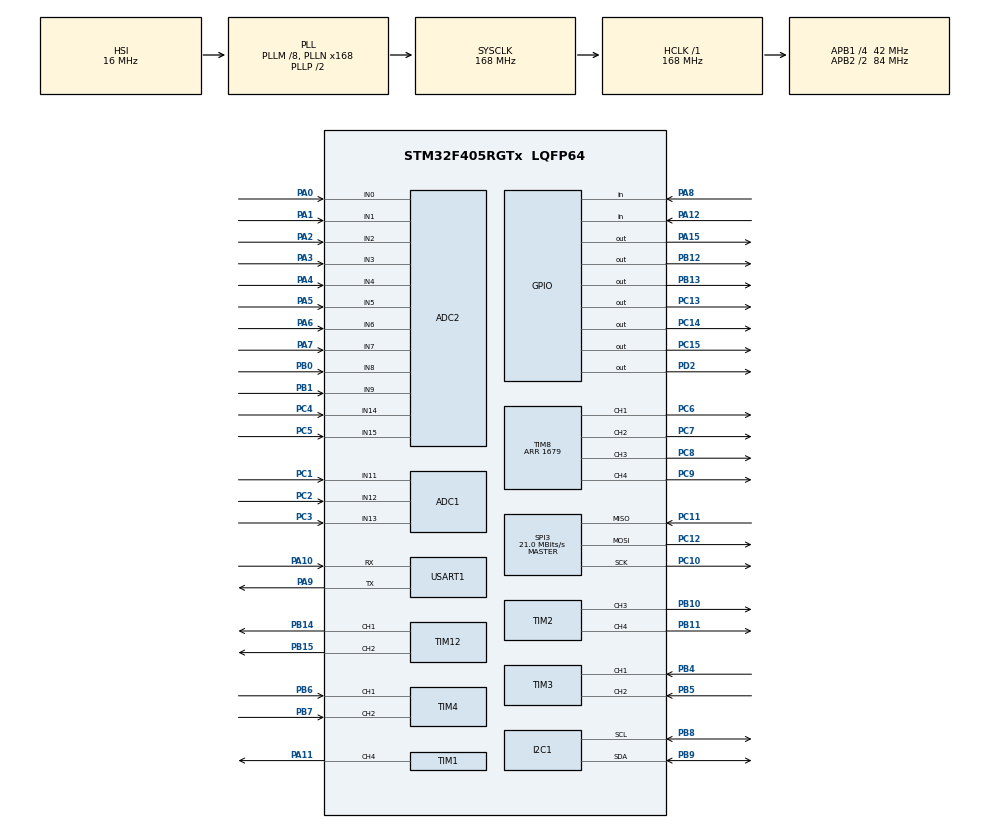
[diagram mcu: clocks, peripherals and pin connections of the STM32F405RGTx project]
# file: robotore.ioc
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ADC1.Channel-0\#ChannelRegularConversion=ADC_CHANNEL_11
ADC1.ClockPrescaler=ADC_CLOCK_SYNC_PCLK_DIV4
ADC1.NbrOfConversionFlag=1
ADC1.Rank-0\#ChannelRegularConversion=1
ADC1.SamplingTime-0\#ChannelRegularConversion=ADC_SAMPLETIME_3CYCLES
ADC1.master=1
ADC2.Channel-0\#ChannelRegularConversion=ADC_CHANNEL_0
ADC2.ClockPrescaler=ADC_CLOCK_SYNC_PCLK_DIV4
ADC2.NbrOfConversionFlag=1
ADC2.Rank-0\#ChannelRegularConversion=1
ADC2.SamplingTime-0\#ChannelRegularConversion=ADC_SAMPLETIME_3CYCLES
Mcu.Family=STM32F4
Mcu.Name=STM32F405RGTx
Mcu.Package=LQFP64
NVIC.PriorityGroup=NVIC_PRIORITYGROUP_4
PA0-WKUP.Signal=ADCx_IN0
PA1.Signal=ADCx_IN1
PA10.Mode=Asynchronous
PA10.Signal=USART1_RX
PA11.Signal=S_TIM1_CH4
PA12.Signal=GPIO_Input
PA13.Mode=Trace_Asynchronous_SW
PA13.Signal=SYS_JTMS-SWDIO
PA14.Mode=Trace_Asynchronous_SW
PA14.Signal=SYS_JTCK-SWCLK
PA15.Signal=GPIO_Output
PA2.Signal=ADCx_IN2
PA3.Signal=ADCx_IN3
PA4.Signal=ADCx_IN4
PA5.Signal=ADCx_IN5
PA6.Signal=ADCx_IN6
PA7.Signal=ADCx_IN7
PA8.Signal=GPIO_Input
PA9.Mode=Asynchronous
PA9.Signal=USART1_TX
PB0.Signal=ADCx_IN8
PB1.Signal=ADCx_IN9
PB10.Signal=S_TIM2_CH3
PB11.Signal=S_TIM2_CH4
PB12.Signal=GPIO_Output
PB13.Signal=GPIO_Output
PB14.Signal=S_TIM12_CH1
PB15.Signal=S_TIM12_CH2
PB3.Mode=Trace_Asynchronous_SW
PB3.Signal=SYS_JTDO-SWO
PB4.Signal=S_TIM3_CH1
PB5.Signal=S_TIM3_CH2
PB6.Signal=S_TIM4_CH1
PB7.Signal=S_TIM4_CH2
PB8.Mode=I2C
PB8.Signal=I2C1_SCL
PB9.Mode=I2C
PB9.Signal=I2C1_SDA
PC1.Signal=ADCx_IN11
PC10.Mode=Full_Duplex_Master
PC10.Signal=SPI3_SCK
PC11.Mode=Full_Duplex_Master
PC11.Signal=SPI3_MISO
PC12.Mode=Full_Duplex_Master
PC12.Signal=SPI3_MOSI
PC13-ANTI_TAMP.Signal=GPIO_Output
PC14-OSC32_IN.Signal=GPIO_Output
PC15-OSC32_OUT.Signal=GPIO_Output
PC2.Signal=ADCx_IN12
PC3.Signal=ADCx_IN13
PC4.Signal=ADCx_IN14
PC5.Signal=ADCx_IN15
PC6.Signal=S_TIM8_CH1
PC7.Signal=S_TIM8_CH2
PC8.Signal=S_TIM8_CH3
PC9.Signal=S_TIM8_CH4
PD2.Signal=GPIO_Output
PH0-OSC_IN.Mode=HSE-External-Oscillator
PH0-OSC_IN.Signal=RCC_OSC_IN
PH1-OSC_OUT.Mode=HSE-External-Oscillator
PH1-OSC_OUT.Signal=RCC_OSC_OUT
ProjectManager.HeapSize=0x200
ProjectManager.StackSize=0x400
ProjectManager.TargetToolchain=STM32CubeIDE
RCC.48MHZClocksFreq_Value=84000000
RCC.AHBFreq_Value=168000000
RCC.APB1CLKDivider=RCC_HCLK_DIV4
RCC.APB1Freq_Value=42000000
RCC.APB1TimFreq_Value=84000000
RCC.APB2CLKDivider=RCC_HCLK_DIV2
RCC.APB2Freq_Value=84000000
RCC.APB2TimFreq_Value=168000000
RCC.CortexFreq_Value=168000000
RCC.HCLKFreq_Value=168000000
RCC.HSE_VALUE=12000000
RCC.HSI_VALUE=16000000
RCC.LSE_VALUE=32768
RCC.PLLM=8
RCC.PLLN=168
RCC.SYSCLKFreq_VALUE=168000000
RCC.SYSCLKSource=RCC_SYSCLKSOURCE_PLLCLK
RCC.VCOOutputFreq_Value=336000000
SH.ADCx_IN0.0=ADC2_IN0,IN0
SH.ADCx_IN1.0=ADC2_IN1,IN1
SH.ADCx_IN11.0=ADC1_IN11,IN11
SH.ADCx_IN12.0=ADC1_IN12,IN12
SH.ADCx_IN13.0=ADC1_IN13,IN13
SH.ADCx_IN14.0=ADC2_IN14,IN14
SH.ADCx_IN15.0=ADC2_IN15,IN15
SH.ADCx_IN2.0=ADC2_IN2,IN2
SH.ADCx_IN3.0=ADC2_IN3,IN3
SH.ADCx_IN4.0=ADC2_IN4,IN4
SH.ADCx_IN5.0=ADC2_IN5,IN5
SH.ADCx_IN6.0=ADC2_IN6,IN6
SH.ADCx_IN7.0=ADC2_IN7,IN7
SH.ADCx_IN8.0=ADC2_IN8,IN8
SH.ADCx_IN9.0=ADC2_IN9,IN9
SH.S_TIM12_CH1.0=TIM12_CH1,PWM Generation1 CH1
SH.S_TIM12_CH2.0=TIM12_CH2,PWM Generation2 CH2
SH.S_TIM1_CH4.0=TIM1_CH4,PWM Generation4 CH4
SH.S_TIM2_CH3.0=TIM2_CH3,PWM Generation3 CH3
SH.S_TIM2_CH4.0=TIM2_CH4,PWM Generation4 CH4
SH.S_TIM3_CH1.0=TIM3_CH1,Encoder_Interface
SH.S_TIM3_CH2.0=TIM3_CH2,Encoder_Interface
SH.S_TIM4_CH1.0=TIM4_CH1,Encoder_Interface
SH.S_TIM4_CH2.0=TIM4_CH2,Encoder_Interface
SH.S_TIM8_CH1.0=TIM8_CH1,PWM Generation1 CH1
SH.S_TIM8_CH2.0=TIM8_CH2,PWM Generation2 CH2
SH.S_TIM8_CH3.0=TIM8_CH3,PWM Generation3 CH3
SH.S_TIM8_CH4.0=TIM8_CH4,PWM Generation4 CH4
SPI3.BaudRatePrescaler=SPI_BAUDRATEPRESCALER_2
SPI3.CalculateBaudRate=21.0 MBits/s
SPI3.Direction=SPI_DIRECTION_2LINES
SPI3.Mode=SPI_MODE_MASTER
SPI3.VirtualType=VM_MASTER
TIM1.Channel-PWM\ Generation4\ CH4=TIM_CHANNEL_4
TIM12.Channel-PWM\ Generation1\ CH1=TIM_CHANNEL_1
TIM12.Channel-PWM\ Generation2\ CH2=TIM_CHANNEL_2
TIM2.Channel-PWM\ Generation3\ CH3=TIM_CHANNEL_3
TIM2.Channel-PWM\ Generation4\ CH4=TIM_CHANNEL_4
TIM8.Channel-PWM\ Generation1\ CH1=TIM_CHANNEL_1
TIM8.Channel-PWM\ Generation2\ CH2=TIM_CHANNEL_2
TIM8.Channel-PWM\ Generation3\ CH3=TIM_CHANNEL_3
TIM8.Channel-PWM\ Generation4\ CH4=TIM_CHANNEL_4
TIM8.Period=1679
USART1.VirtualMode=VM_ASYNC
board=custom

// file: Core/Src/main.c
/* USER CODE BEGIN Header */
/**
  ******************************************************************************
  * @file           : main.c
  * @brief          : Main program body
  ******************************************************************************
  * @attention
  *
  * <h2><center>&copy; Copyright (c) 2022 STMicroelectronics.
  * All rights reserved.</center></h2>
  *
  * This software component is licensed by ST under BSD 3-Clause license,
  * the "License"; You may not use this file except in compliance with the
  * License. You may obtain a copy of the License at:
  *                        opensource.org/licenses/BSD-3-Clause
  *
  ******************************************************************************
  */
/* USER CODE END Header */
#include "main.h"

ADC_HandleTypeDef hadc1;
ADC_HandleTypeDef hadc2;

I2C_HandleTypeDef hi2c1;

SPI_HandleTypeDef hspi3;

TIM_HandleTypeDef htim1;
TIM_HandleTypeDef htim2;
TIM_HandleTypeDef htim3;
TIM_HandleTypeDef htim4;
TIM_HandleTypeDef htim8;
TIM_HandleTypeDef htim12;

UART_HandleTypeDef huart1;

/* USER CODE BEGIN PV */

static int16_t motor_l, motor_r;
static int16_t drone_motor_l, drone_motor_r;
int16_t mon_rev_l, mon_rev_r;

int16_t MAX_COUNTER_PERIOD = 1679;
int16_t MIN_COUNTER_PERIOD = 0;

/* USER CODE END PV */

void SystemClock_Config(void);
static void MX_GPIO_Init(void);
static void MX_TIM1_Init(void);
static void MX_TIM2_Init(void);
static void MX_TIM3_Init(void);
static void MX_TIM4_Init(void);
static void MX_TIM8_Init(void);
static void MX_TIM12_Init(void);
static void MX_ADC1_Init(void);
static void MX_ADC2_Init(void);
static void MX_I2C1_Init(void);
static void MX_SPI3_Init(void);
static void MX_USART1_UART_Init(void);
/* USER CODE BEGIN PFP */

void initMotor(void)
{
	HAL_TIM_PWM_Start(&htim8, TIM_CHANNEL_1); //PWM start
	HAL_TIM_PWM_Start(&htim8, TIM_CHANNEL_2); //PWM start
	HAL_TIM_PWM_Start(&htim8, TIM_CHANNEL_3); //PWM start
	HAL_TIM_PWM_Start(&htim8, TIM_CHANNEL_4); //PWM start

	//motor driver wakeup
	__HAL_TIM_SET_COMPARE(&htim8, TIM_CHANNEL_1, MAX_COUNTER_PERIOD);
	__HAL_TIM_SET_COMPARE(&htim8, TIM_CHANNEL_2, MAX_COUNTER_PERIOD);
	__HAL_TIM_SET_COMPARE(&htim8, TIM_CHANNEL_3, MAX_COUNTER_PERIOD);
	__HAL_TIM_SET_COMPARE(&htim8, TIM_CHANNEL_4, MAX_COUNTER_PERIOD);
	HAL_Delay(100);
}

/* USER CODE END PFP */

int main(void)
{

  /* MCU Configuration--------------------------------------------------------*/

  /* Reset of all peripherals, Initializes the Flash interface and the Systick. */
  HAL_Init();

  /* Configure the system clock */
  SystemClock_Config();

  /* Initialize all configured peripherals */
  MX_GPIO_Init();
  MX_TIM1_Init();
  MX_TIM2_Init();
  MX_TIM3_Init();
  MX_TIM4_Init();
  MX_TIM8_Init();
  MX_TIM12_Init();
  MX_ADC1_Init();
  MX_ADC2_Init();
  MX_I2C1_Init();
  MX_SPI3_Init();
  MX_USART1_UART_Init();
  /* USER CODE BEGIN 2 */

  initMotor();
  /* USER CODE END 2 */

  /* Infinite loop */
  /* USER CODE BEGIN WHILE */
  while (1)
  {
	__HAL_TIM_SET_COMPARE(&htim8, TIM_CHANNEL_3, 1400);
	__HAL_TIM_SET_COMPARE(&htim8, TIM_CHANNEL_4, MAX_COUNTER_PERIOD);
	__HAL_TIM_SET_COMPARE(&htim8, TIM_CHANNEL_1, MAX_COUNTER_PERIOD);
	__HAL_TIM_SET_COMPARE(&htim8, TIM_CHANNEL_2, MAX_COUNTER_PERIOD);
	HAL_Delay(1000);

	__HAL_TIM_SET_COMPARE(&htim8, TIM_CHANNEL_1, 1400);
	__HAL_TIM_SET_COMPARE(&htim8, TIM_CHANNEL_2, MAX_COUNTER_PERIOD);
	__HAL_TIM_SET_COMPARE(&htim8, TIM_CHANNEL_3, MAX_COUNTER_PERIOD);
	__HAL_TIM_SET_COMPARE(&htim8, TIM_CHANNEL_4, MAX_COUNTER_PERIOD);
	HAL_Delay(1000);
    /* USER CODE END WHILE */

  }
}

void SystemClock_Config(void)
{
  RCC_OscInitTypeDef RCC_OscInitStruct = {0};
  RCC_ClkInitTypeDef RCC_ClkInitStruct = {0};

  /** Configure the main internal regulator output voltage
  */
  __HAL_RCC_PWR_CLK_ENABLE();
  __HAL_PWR_VOLTAGESCALING_CONFIG(PWR_REGULATOR_VOLTAGE_SCALE1);
  /** Initializes the RCC Oscillators according to the specified parameters
  * in the RCC_OscInitTypeDef structure.
  */
  RCC_OscInitStruct.OscillatorType = RCC_OSCILLATORTYPE_HSI;
  RCC_OscInitStruct.HSIState = RCC_HSI_ON;
  RCC_OscInitStruct.HSICalibrationValue = RCC_HSICALIBRATION_DEFAULT;
  RCC_OscInitStruct.PLL.PLLState = RCC_PLL_ON;
  RCC_OscInitStruct.PLL.PLLSource = RCC_PLLSOURCE_HSI;
  RCC_OscInitStruct.PLL.PLLM = 8;
  RCC_OscInitStruct.PLL.PLLN = 168;
  RCC_OscInitStruct.PLL.PLLP = RCC_PLLP_DIV2;
  RCC_OscInitStruct.PLL.PLLQ = 4;
  if (HAL_RCC_OscConfig(&RCC_OscInitStruct) != HAL_OK)
  {
    Error_Handler();
  }
  /** Initializes the CPU, AHB and APB buses clocks
  */
  RCC_ClkInitStruct.ClockType = RCC_CLOCKTYPE_HCLK|RCC_CLOCKTYPE_SYSCLK
                              |RCC_CLOCKTYPE_PCLK1|RCC_CLOCKTYPE_PCLK2;
  RCC_ClkInitStruct.SYSCLKSource = RCC_SYSCLKSOURCE_PLLCLK;
  RCC_ClkInitStruct.AHBCLKDivider = RCC_SYSCLK_DIV1;
  RCC_ClkInitStruct.APB1CLKDivider = RCC_HCLK_DIV4;
  RCC_ClkInitStruct.APB2CLKDivider = RCC_HCLK_DIV2;

  if (HAL_RCC_ClockConfig(&RCC_ClkInitStruct, FLASH_LATENCY_5) != HAL_OK)
  {
    Error_Handler();
  }
}

static void MX_ADC1_Init(void)
{

  ADC_ChannelConfTypeDef sConfig = {0};

  /** Configure the global features of the ADC (Clock, Resolution, Data Alignment and number of conversion)
  */
  hadc1.Instance = ADC1;
  hadc1.Init.ClockPrescaler = ADC_CLOCK_SYNC_PCLK_DIV4;
  hadc1.Init.Resolution = ADC_RESOLUTION_12B;
  hadc1.Init.ScanConvMode = DISABLE;
  hadc1.Init.ContinuousConvMode = DISABLE;
  hadc1.Init.DiscontinuousConvMode = DISABLE;
  hadc1.Init.ExternalTrigConvEdge = ADC_EXTERNALTRIGCONVEDGE_NONE;
  hadc1.Init.ExternalTrigConv = ADC_SOFTWARE_START;
  hadc1.Init.DataAlign = ADC_DATAALIGN_RIGHT;
  hadc1.Init.NbrOfConversion = 1;
  hadc1.Init.DMAContinuousRequests = DISABLE;
  hadc1.Init.EOCSelection = ADC_EOC_SINGLE_CONV;
  if (HAL_ADC_Init(&hadc1) != HAL_OK)
  {
    Error_Handler();
  }
  /** Configure for the selected ADC regular channel its corresponding rank in the sequencer and its sample time.
  */
  sConfig.Channel = ADC_CHANNEL_11;
  sConfig.Rank = 1;
  sConfig.SamplingTime = ADC_SAMPLETIME_3CYCLES;
  if (HAL_ADC_ConfigChannel(&hadc1, &sConfig) != HAL_OK)
  {
    Error_Handler();
  }

}

static void MX_ADC2_Init(void)
{

  ADC_ChannelConfTypeDef sConfig = {0};

  /** Configure the global features of the ADC (Clock, Resolution, Data Alignment and number of conversion)
  */
  hadc2.Instance = ADC2;
  hadc2.Init.ClockPrescaler = ADC_CLOCK_SYNC_PCLK_DIV4;
  hadc2.Init.Resolution = ADC_RESOLUTION_12B;
  hadc2.Init.ScanConvMode = DISABLE;
  hadc2.Init.ContinuousConvMode = DISABLE;
  hadc2.Init.DiscontinuousConvMode = DISABLE;
  hadc2.Init.ExternalTrigConvEdge = ADC_EXTERNALTRIGCONVEDGE_NONE;
  hadc2.Init.ExternalTrigConv = ADC_SOFTWARE_START;
  hadc2.Init.DataAlign = ADC_DATAALIGN_RIGHT;
  hadc2.Init.NbrOfConversion = 1;
  hadc2.Init.DMAContinuousRequests = DISABLE;
  hadc2.Init.EOCSelection = ADC_EOC_SINGLE_CONV;
  if (HAL_ADC_Init(&hadc2) != HAL_OK)
  {
    Error_Handler();
  }
  /** Configure for the selected ADC regular channel its corresponding rank in the sequencer and its sample time.
  */
  sConfig.Channel = ADC_CHANNEL_0;
  sConfig.Rank = 1;
  sConfig.SamplingTime = ADC_SAMPLETIME_3CYCLES;
  if (HAL_ADC_ConfigChannel(&hadc2, &sConfig) != HAL_OK)
  {
    Error_Handler();
  }

}

static void MX_I2C1_Init(void)
{

  hi2c1.Instance = I2C1;
  hi2c1.Init.ClockSpeed = 100000;
  hi2c1.Init.DutyCycle = I2C_DUTYCYCLE_2;
  hi2c1.Init.OwnAddress1 = 0;
  hi2c1.Init.AddressingMode = I2C_ADDRESSINGMODE_7BIT;
  hi2c1.Init.DualAddressMode = I2C_DUALADDRESS_DISABLE;
  hi2c1.Init.OwnAddress2 = 0;
  hi2c1.Init.GeneralCallMode = I2C_GENERALCALL_DISABLE;
  hi2c1.Init.NoStretchMode = I2C_NOSTRETCH_DISABLE;
  if (HAL_I2C_Init(&hi2c1) != HAL_OK)
  {
    Error_Handler();
  }

}

static void MX_SPI3_Init(void)
{

  /* SPI3 parameter configuration*/
  hspi3.Instance = SPI3;
  hspi3.Init.Mode = SPI_MODE_MASTER;
  hspi3.Init.Direction = SPI_DIRECTION_2LINES;
  hspi3.Init.DataSize = SPI_DATASIZE_8BIT;
  hspi3.Init.CLKPolarity = SPI_POLARITY_LOW;
  hspi3.Init.CLKPhase = SPI_PHASE_1EDGE;
  hspi3.Init.NSS = SPI_NSS_SOFT;
  hspi3.Init.BaudRatePrescaler = SPI_BAUDRATEPRESCALER_2;
  hspi3.Init.FirstBit = SPI_FIRSTBIT_MSB;
  hspi3.Init.TIMode = SPI_TIMODE_DISABLE;
  hspi3.Init.CRCCalculation = SPI_CRCCALCULATION_DISABLE;
  hspi3.Init.CRCPolynomial = 10;
  if (HAL_SPI_Init(&hspi3) != HAL_OK)
  {
    Error_Handler();
  }

}

static void MX_TIM1_Init(void)
{

  TIM_MasterConfigTypeDef sMasterConfig = {0};
  TIM_OC_InitTypeDef sConfigOC = {0};
  TIM_BreakDeadTimeConfigTypeDef sBreakDeadTimeConfig = {0};

  htim1.Instance = TIM1;
  htim1.Init.Prescaler = 0;
  htim1.Init.CounterMode = TIM_COUNTERMODE_UP;
  htim1.Init.Period = 65535;
  htim1.Init.ClockDivision = TIM_CLOCKDIVISION_DIV1;
  htim1.Init.RepetitionCounter = 0;
  htim1.Init.AutoReloadPreload = TIM_AUTORELOAD_PRELOAD_DISABLE;
  if (HAL_TIM_PWM_Init(&htim1) != HAL_OK)
  {
    Error_Handler();
  }
  sMasterConfig.MasterOutputTrigger = TIM_TRGO_RESET;
  sMasterConfig.MasterSlaveMode = TIM_MASTERSLAVEMODE_DISABLE;
  if (HAL_TIMEx_MasterConfigSynchronization(&htim1, &sMasterConfig) != HAL_OK)
  {
    Error_Handler();
  }
  sConfigOC.OCMode = TIM_OCMODE_PWM1;
  sConfigOC.Pulse = 0;
  sConfigOC.OCPolarity = TIM_OCPOLARITY_HIGH;
  sConfigOC.OCFastMode = TIM_OCFAST_DISABLE;
  sConfigOC.OCIdleState = TIM_OCIDLESTATE_RESET;
  sConfigOC.OCNIdleState = TIM_OCNIDLESTATE_RESET;
  if (HAL_TIM_PWM_ConfigChannel(&htim1, &sConfigOC, TIM_CHANNEL_4) != HAL_OK)
  {
    Error_Handler();
  }
  sBreakDeadTimeConfig.OffStateRunMode = TIM_OSSR_DISABLE;
  sBreakDeadTimeConfig.OffStateIDLEMode = TIM_OSSI_DISABLE;
  sBreakDeadTimeConfig.LockLevel = TIM_LOCKLEVEL_OFF;
  sBreakDeadTimeConfig.DeadTime = 0;
  sBreakDeadTimeConfig.BreakState = TIM_BREAK_DISABLE;
  sBreakDeadTimeConfig.BreakPolarity = TIM_BREAKPOLARITY_HIGH;
  sBreakDeadTimeConfig.AutomaticOutput = TIM_AUTOMATICOUTPUT_DISABLE;
  if (HAL_TIMEx_ConfigBreakDeadTime(&htim1, &sBreakDeadTimeConfig) != HAL_OK)
  {
    Error_Handler();
  }
  HAL_TIM_MspPostInit(&htim1);

}

static void MX_TIM2_Init(void)
{

  TIM_MasterConfigTypeDef sMasterConfig = {0};
  TIM_OC_InitTypeDef sConfigOC = {0};

  htim2.Instance = TIM2;
  htim2.Init.Prescaler = 0;
  htim2.Init.CounterMode = TIM_COUNTERMODE_UP;
  htim2.Init.Period = 4294967295;
  htim2.Init.ClockDivision = TIM_CLOCKDIVISION_DIV1;
  htim2.Init.AutoReloadPreload = TIM_AUTORELOAD_PRELOAD_DISABLE;
  if (HAL_TIM_PWM_Init(&htim2) != HAL_OK)
  {
    Error_Handler();
  }
  sMasterConfig.MasterOutputTrigger = TIM_TRGO_RESET;
  sMasterConfig.MasterSlaveMode = TIM_MASTERSLAVEMODE_DISABLE;
  if (HAL_TIMEx_MasterConfigSynchronization(&htim2, &sMasterConfig) != HAL_OK)
  {
    Error_Handler();
  }
  sConfigOC.OCMode = TIM_OCMODE_PWM1;
  sConfigOC.Pulse = 0;
  sConfigOC.OCPolarity = TIM_OCPOLARITY_HIGH;
  sConfigOC.OCFastMode = TIM_OCFAST_DISABLE;
  if (HAL_TIM_PWM_ConfigChannel(&htim2, &sConfigOC, TIM_CHANNEL_3) != HAL_OK)
  {
    Error_Handler();
  }
  if (HAL_TIM_PWM_ConfigChannel(&htim2, &sConfigOC, TIM_CHANNEL_4) != HAL_OK)
  {
    Error_Handler();
  }
  HAL_TIM_MspPostInit(&htim2);

}

static void MX_TIM3_Init(void)
{

  TIM_Encoder_InitTypeDef sConfig = {0};
  TIM_MasterConfigTypeDef sMasterConfig = {0};

  htim3.Instance = TIM3;
  htim3.Init.Prescaler = 0;
  htim3.Init.CounterMode = TIM_COUNTERMODE_UP;
  htim3.Init.Period = 65535;
  htim3.Init.ClockDivision = TIM_CLOCKDIVISION_DIV1;
  htim3.Init.AutoReloadPreload = TIM_AUTORELOAD_PRELOAD_DISABLE;
  sConfig.EncoderMode = TIM_ENCODERMODE_TI1;
  sConfig.IC1Polarity = TIM_ICPOLARITY_RISING;
  sConfig.IC1Selection = TIM_ICSELECTION_DIRECTTI;
  sConfig.IC1Prescaler = TIM_ICPSC_DIV1;
  sConfig.IC1Filter = 0;
  sConfig.IC2Polarity = TIM_ICPOLARITY_RISING;
  sConfig.IC2Selection = TIM_ICSELECTION_DIRECTTI;
  sConfig.IC2Prescaler = TIM_ICPSC_DIV1;
  sConfig.IC2Filter = 0;
  if (HAL_TIM_Encoder_Init(&htim3, &sConfig) != HAL_OK)
  {
    Error_Handler();
  }
  sMasterConfig.MasterOutputTrigger = TIM_TRGO_RESET;
  sMasterConfig.MasterSlaveMode = TIM_MASTERSLAVEMODE_DISABLE;
  if (HAL_TIMEx_MasterConfigSynchronization(&htim3, &sMasterConfig) != HAL_OK)
  {
    Error_Handler();
  }

}

static void MX_TIM4_Init(void)
{

  TIM_Encoder_InitTypeDef sConfig = {0};
  TIM_MasterConfigTypeDef sMasterConfig = {0};

  htim4.Instance = TIM4;
  htim4.Init.Prescaler = 0;
  htim4.Init.CounterMode = TIM_COUNTERMODE_UP;
  htim4.Init.Period = 65535;
  htim4.Init.ClockDivision = TIM_CLOCKDIVISION_DIV1;
  htim4.Init.AutoReloadPreload = TIM_AUTORELOAD_PRELOAD_DISABLE;
  sConfig.EncoderMode = TIM_ENCODERMODE_TI1;
  sConfig.IC1Polarity = TIM_ICPOLARITY_RISING;
  sConfig.IC1Selection = TIM_ICSELECTION_DIRECTTI;
  sConfig.IC1Prescaler = TIM_ICPSC_DIV1;
  sConfig.IC1Filter = 0;
  sConfig.IC2Polarity = TIM_ICPOLARITY_RISING;
  sConfig.IC2Selection = TIM_ICSELECTION_DIRECTTI;
  sConfig.IC2Prescaler = TIM_ICPSC_DIV1;
  sConfig.IC2Filter = 0;
  if (HAL_TIM_Encoder_Init(&htim4, &sConfig) != HAL_OK)
  {
    Error_Handler();
  }
  sMasterConfig.MasterOutputTrigger = TIM_TRGO_RESET;
  sMasterConfig.MasterSlaveMode = TIM_MASTERSLAVEMODE_DISABLE;
  if (HAL_TIMEx_MasterConfigSynchronization(&htim4, &sMasterConfig) != HAL_OK)
  {
    Error_Handler();
  }

}

static void MX_TIM8_Init(void)
{

  TIM_MasterConfigTypeDef sMasterConfig = {0};
  TIM_OC_InitTypeDef sConfigOC = {0};
  TIM_BreakDeadTimeConfigTypeDef sBreakDeadTimeConfig = {0};

  htim8.Instance = TIM8;
  htim8.Init.Prescaler = 0;
  htim8.Init.CounterMode = TIM_COUNTERMODE_UP;
  htim8.Init.Period = 1679;
  htim8.Init.ClockDivision = TIM_CLOCKDIVISION_DIV1;
  htim8.Init.RepetitionCounter = 0;
  htim8.Init.AutoReloadPreload = TIM_AUTORELOAD_PRELOAD_DISABLE;
  if (HAL_TIM_PWM_Init(&htim8) != HAL_OK)
  {
    Error_Handler();
  }
  sMasterConfig.MasterOutputTrigger = TIM_TRGO_RESET;
  sMasterConfig.MasterSlaveMode = TIM_MASTERSLAVEMODE_DISABLE;
  if (HAL_TIMEx_MasterConfigSynchronization(&htim8, &sMasterConfig) != HAL_OK)
  {
    Error_Handler();
  }
  sConfigOC.OCMode = TIM_OCMODE_PWM1;
  sConfigOC.Pulse = 0;
  sConfigOC.OCPolarity = TIM_OCPOLARITY_HIGH;
  sConfigOC.OCNPolarity = TIM_OCNPOLARITY_HIGH;
  sConfigOC.OCFastMode = TIM_OCFAST_DISABLE;
  sConfigOC.OCIdleState = TIM_OCIDLESTATE_RESET;
  sConfigOC.OCNIdleState = TIM_OCNIDLESTATE_RESET;
  if (HAL_TIM_PWM_ConfigChannel(&htim8, &sConfigOC, TIM_CHANNEL_1) != HAL_OK)
  {
    Error_Handler();
  }
  if (HAL_TIM_PWM_ConfigChannel(&htim8, &sConfigOC, TIM_CHANNEL_2) != HAL_OK)
  {
    Error_Handler();
  }
  if (HAL_TIM_PWM_ConfigChannel(&htim8, &sConfigOC, TIM_CHANNEL_3) != HAL_OK)
  {
    Error_Handler();
  }
  if (HAL_TIM_PWM_ConfigChannel(&htim8, &sConfigOC, TIM_CHANNEL_4) != HAL_OK)
  {
    Error_Handler();
  }
  sBreakDeadTimeConfig.OffStateRunMode = TIM_OSSR_DISABLE;
  sBreakDeadTimeConfig.OffStateIDLEMode = TIM_OSSI_DISABLE;
  sBreakDeadTimeConfig.LockLevel = TIM_LOCKLEVEL_OFF;
  sBreakDeadTimeConfig.DeadTime = 0;
  sBreakDeadTimeConfig.BreakState = TIM_BREAK_DISABLE;
  sBreakDeadTimeConfig.BreakPolarity = TIM_BREAKPOLARITY_HIGH;
  sBreakDeadTimeConfig.AutomaticOutput = TIM_AUTOMATICOUTPUT_DISABLE;
  if (HAL_TIMEx_ConfigBreakDeadTime(&htim8, &sBreakDeadTimeConfig) != HAL_OK)
  {
    Error_Handler();
  }
  HAL_TIM_MspPostInit(&htim8);

}

static void MX_TIM12_Init(void)
{

  TIM_OC_InitTypeDef sConfigOC = {0};

  htim12.Instance = TIM12;
  htim12.Init.Prescaler = 0;
  htim12.Init.CounterMode = TIM_COUNTERMODE_UP;
  htim12.Init.Period = 65535;
  htim12.Init.ClockDivision = TIM_CLOCKDIVISION_DIV1;
  htim12.Init.AutoReloadPreload = TIM_AUTORELOAD_PRELOAD_DISABLE;
  if (HAL_TIM_PWM_Init(&htim12) != HAL_OK)
  {
    Error_Handler();
  }
  sConfigOC.OCMode = TIM_OCMODE_PWM1;
  sConfigOC.Pulse = 0;
  sConfigOC.OCPolarity = TIM_OCPOLARITY_HIGH;
  sConfigOC.OCFastMode = TIM_OCFAST_DISABLE;
  if (HAL_TIM_PWM_ConfigChannel(&htim12, &sConfigOC, TIM_CHANNEL_1) != HAL_OK)
  {
    Error_Handler();
  }
  if (HAL_TIM_PWM_ConfigChannel(&htim12, &sConfigOC, TIM_CHANNEL_2) != HAL_OK)
  {
    Error_Handler();
  }
  HAL_TIM_MspPostInit(&htim12);

}

static void MX_USART1_UART_Init(void)
{

  huart1.Instance = USART1;
  huart1.Init.BaudRate = 115200;
  huart1.Init.WordLength = UART_WORDLENGTH_8B;
  huart1.Init.StopBits = UART_STOPBITS_1;
  huart1.Init.Parity = UART_PARITY_NONE;
  huart1.Init.Mode = UART_MODE_TX_RX;
  huart1.Init.HwFlowCtl = UART_HWCONTROL_NONE;
  huart1.Init.OverSampling = UART_OVERSAMPLING_16;
  if (HAL_UART_Init(&huart1) != HAL_OK)
  {
    Error_Handler();
  }

}

static void MX_GPIO_Init(void)
{
  GPIO_InitTypeDef GPIO_InitStruct = {0};

  /* GPIO Ports Clock Enable */
  __HAL_RCC_GPIOC_CLK_ENABLE();
  __HAL_RCC_GPIOH_CLK_ENABLE();
  __HAL_RCC_GPIOA_CLK_ENABLE();
  __HAL_RCC_GPIOB_CLK_ENABLE();
  __HAL_RCC_GPIOD_CLK_ENABLE();

  /*Configure GPIO pin Output Level */
  HAL_GPIO_WritePin(GPIOC, GPIO_PIN_13|GPIO_PIN_14|GPIO_PIN_15, GPIO_PIN_RESET);

  /*Configure GPIO pin Output Level */
  HAL_GPIO_WritePin(GPIOB, GPIO_PIN_12|GPIO_PIN_13, GPIO_PIN_RESET);

  /*Configure GPIO pin Output Level */
  HAL_GPIO_WritePin(GPIOA, GPIO_PIN_15, GPIO_PIN_RESET);

  /*Configure GPIO pin Output Level */
  HAL_GPIO_WritePin(GPIOD, GPIO_PIN_2, GPIO_PIN_RESET);

  /*Configure GPIO pins : PC13 PC14 PC15 */
  GPIO_InitStruct.Pin = GPIO_PIN_13|GPIO_PIN_14|GPIO_PIN_15;
  GPIO_InitStruct.Mode = GPIO_MODE_OUTPUT_PP;
  GPIO_InitStruct.Pull = GPIO_NOPULL;
  GPIO_InitStruct.Speed = GPIO_SPEED_FREQ_LOW;
  HAL_GPIO_Init(GPIOC, &GPIO_InitStruct);

  /*Configure GPIO pins : PB12 PB13 */
  GPIO_InitStruct.Pin = GPIO_PIN_12|GPIO_PIN_13;
  GPIO_InitStruct.Mode = GPIO_MODE_OUTPUT_PP;
  GPIO_InitStruct.Pull = GPIO_NOPULL;
  GPIO_InitStruct.Speed = GPIO_SPEED_FREQ_LOW;
  HAL_GPIO_Init(GPIOB, &GPIO_InitStruct);

  /*Configure GPIO pins : PA8 PA12 */
  GPIO_InitStruct.Pin = GPIO_PIN_8|GPIO_PIN_12;
  GPIO_InitStruct.Mode = GPIO_MODE_INPUT;
  GPIO_InitStruct.Pull = GPIO_NOPULL;
  HAL_GPIO_Init(GPIOA, &GPIO_InitStruct);

  /*Configure GPIO pin : PA15 */
  GPIO_InitStruct.Pin = GPIO_PIN_15;
  GPIO_InitStruct.Mode = GPIO_MODE_OUTPUT_PP;
  GPIO_InitStruct.Pull = GPIO_NOPULL;
  GPIO_InitStruct.Speed = GPIO_SPEED_FREQ_LOW;
  HAL_GPIO_Init(GPIOA, &GPIO_InitStruct);

  /*Configure GPIO pin : PD2 */
  GPIO_InitStruct.Pin = GPIO_PIN_2;
  GPIO_InitStruct.Mode = GPIO_MODE_OUTPUT_PP;
  GPIO_InitStruct.Pull = GPIO_NOPULL;
  GPIO_InitStruct.Speed = GPIO_SPEED_FREQ_LOW;
  HAL_GPIO_Init(GPIOD, &GPIO_InitStruct);

}

void Error_Handler(void)
{
  __disable_irq();
  while (1)
  {
  }
}

/************************ (C) COPYRIGHT STMicroelectronics *****END OF FILE****/
